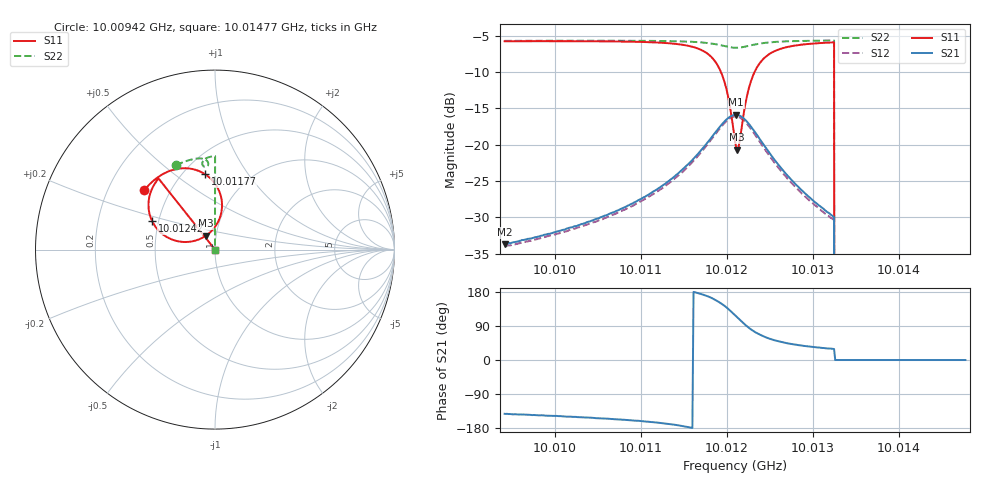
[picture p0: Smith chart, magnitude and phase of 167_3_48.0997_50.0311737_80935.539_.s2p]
#  HZ  S  RI  R  50.00
! Rohde & Schwarz Vector Network Analyzer
! Rohde-Schwarz,ZNB20-2Port,1311601062101988,3.16
! Created: UTC 12/23/2023, 3:51:23 AM
! freq[Hz]  re:S11  im:S11  re:S21  im:S21  re:S12  im:S12  re:S22  im:S22
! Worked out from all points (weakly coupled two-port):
!   401 points, 10.00942 GHz to 10.01477 GHz, reference 50 ohm
!   highest |S21| = -15.89 dB at 10.01211 GHz (marker M1); lowest = -33.7 dB at 10.00942 GHz (marker M2)
!   lowest |S11| = -20.7 dB at 10.01212 GHz (marker M3), VSWR 1.20, Z = 44.7 + j6.98 ohm
!   |S11| at or under -10 dB: 10.01193 GHz to 10.01232 GHz (390.9 kHz wide, 0.0039 % of centre); 10.01325 GHz to end of sweep
!   |S22| runs from - to -5.7 dB; largest |S21 - S12| = 0.008
!   S11 on the Smith chart (normalised r, x): 10.00942 GHz: 0.36, +0.32; 10.01177 GHz: 0.64, +0.65; 10.01242 GHz: 0.46, +0.17; 10.01477 GHz: 1.00, +0.00
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1.000942e10  -0.3951 0.33  -0.0163 -0.0128  -0.0153 -0.013  -0.2163 0.4703
1.0010316e10  -0.3401 0.3859  -0.025 -0.0137  -0.0235 -0.0143  -0.1608 0.493
1.0011212e10  -0.2397 0.4427  -0.0489 -0.0124  -0.0464 -0.0144  -0.0981 0.5074
1.0011533e10  -0.161 0.4534  -0.0717 -0.00454  -0.0688 -0.0081  -0.0711 0.5071
1.0011774e10  -0.0551 0.42  -0.1014 0.0205  -0.0992 0.0151  -0.0482 0.4982
1.0011881e10  0.00428 0.3615  -0.1144 0.0493  -0.1136 0.0419  -0.0395 0.488
1.0011961e10  0.0363 0.2817  -0.1164 0.0815  -0.1171 0.0738  -0.0372 0.477
1.0012028e10  0.0319 0.1929  -0.1043 0.1141  -0.1063 0.1069  -0.0408 0.4673
1.0012095e10  -0.0182 0.1048  -0.0755 0.1415  -0.0793 0.1349  -0.0498 0.4614
1.0012108e10  -0.0335 0.0905  -0.0683 0.1454  -0.0718 0.139  -0.052 0.4608
1.0012122e10  -0.0506 0.0775  -0.0605 0.1484  -0.0642 0.1421  -0.0542 0.4609
1.0012149e10  -0.0878 0.0576  -0.0447 0.1519  -0.0483 0.1462  -0.0585 0.4616
1.0012215e10  -0.1861 0.0433  -0.00652 0.1479  -0.0114 0.1428  -0.0672 0.4679
1.0012269e10  -0.2526 0.0618  0.0174 0.135  0.0123 0.1305  -0.0705 0.4756
1.0012336e10  -0.3114 0.1032  0.0359 0.1146  0.0302 0.1112  -0.0703 0.4852
1.0012416e10  -0.3502 0.1584  0.0458 0.0917  0.0408 0.0888  -0.066 0.4947
1.0012657e10  -0.3686 0.2795  0.0457 0.0479  0.0415 0.0475  -0.0461 0.5107
1.0012991e10  -0.3391 0.3613  0.0345 0.0238  0.0317 0.0242  -0.0185 0.5186
1.0013218e10  -0.3169 0.3927  0.0284 0.0163  0.0263 0.0167  -0.00118 0.5207
1.0013285e10  0 0  0 0  0 0  0 0
1.0013887e10  0 0  0 0  0 0  0 0
1.001477e10  0 0  0 0  0 0  0 0
